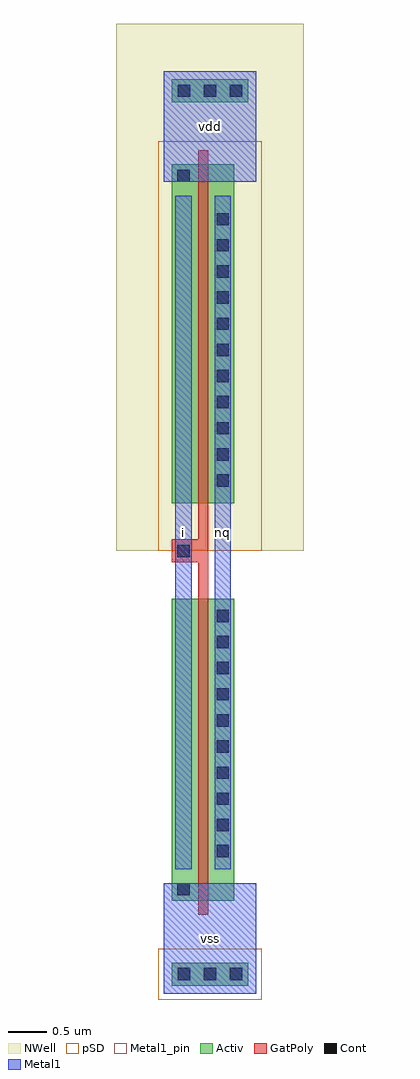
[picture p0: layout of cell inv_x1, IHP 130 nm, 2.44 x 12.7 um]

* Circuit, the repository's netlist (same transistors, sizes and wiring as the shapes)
* inv_x1
.subckt inv_x1 vdd vss i nq
Xnmos vss i nq vss sg13_lv_nmos l=0.13um w=3.93um
Xpmos vdd i nq vdd sg13_lv_pmos l=0.13um w=4.41um
.ends inv_x1

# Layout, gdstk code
import gdstk
lib = gdstk.Library(unit=1e-6, precision=1e-09)
def R(c, l, rs):  # rectangles x0, y0, x1, y1
    for r in rs: c.add(gdstk.rectangle(r[:2], r[2:], *l))
def A(c, l, x, y, w, h, nx, ny, dx, dy):  # array of equal rectangles
    R(c, l, [(x+i*dx, y+j*dy, x+i*dx+w, y+j*dy+h) for i in range(nx) for j in range(ny)])
Activ = (1, 0)
GatPoly = (5, 0)
Cont = (6, 0)
Metal1 = (8, 0)
Metal1_pin = (8, 2)
pSD = (14, 0)
NWell = (31, 0)

inv_x1 = lib.new_cell('inv_x1')
R(inv_x1, Activ, [(0.105,0.105,1.095,0.405), (0.11,0.105,1.09,0.405), (0.105,1.21,0.405,1.51), (0.105,1.21,0.375,5.14), (0.105,1.21,0.405,5.14), (0.215,1.21,0.805,5.14), (0.615,1.21,0.915,5.14), (0.645,1.21,0.915,5.14), (0.615,1.705,0.915,5.065), (0.105,6.38,0.405,10.79), (0.105,6.38,0.375,10.79), (0.215,6.38,0.805,10.79), (0.615,6.38,0.915,10.79), (0.645,6.38,0.915,10.79), (0.615,6.525,0.915,10.225), (0.105,10.49,0.405,10.79), (0.105,11.595,1.095,11.895), (0.11,11.595,1.09,11.895)])
R(inv_x1, GatPoly, [(0.445,1.03,0.575,5.32), (0.445,1.03,0.575,6.2), (0.105,5.61,0.405,5.91), (0.255,5.61,0.51,5.91), (0.445,6.2,0.575,10.97)])
A(inv_x1, Cont, 0.18, 0.175, 0.16, 0.16, 3, 2, 0.34, 11.49)
A(inv_x1, Cont, 0.685, 1.775, 0.16, 0.16, 1, 10, 0, 0.34)
A(inv_x1, Cont, 0.685, 6.595, 0.16, 0.16, 1, 11, 0, 0.34)
R(inv_x1, Cont, [(0.175,1.28,0.335,1.44), (0.175,5.68,0.335,5.84), (0.175,10.56,0.335,10.72)])
R(inv_x1, Metal1, [(0,0,1.2,1.44), (0.18,0.095,1.02,0.415), (0.095,1.28,0.415,1.44), (0.15,1.62,0.36,10.38), (0.66,1.62,0.87,10.38), (0.685,1.62,0.845,5.075), (0.685,1.695,0.845,5.075), (0.175,5.6,0.335,5.92), (0.685,6.515,0.845,10.38), (0.685,6.515,0.845,10.235), (0,10.56,1.2,12), (0.095,10.56,0.415,10.72), (0.18,11.585,1.02,11.905)])
R(inv_x1, Metal1_pin, [(0,0,1.2,1.44), (0.15,1.62,0.36,10.38), (0.66,1.62,0.87,10.38), (0,10.56,1.2,12)])
R(inv_x1, pSD, [(-0.075,-0.075,1.275,0.585), (-0.07,-0.075,1.27,0.585), (-0.075,5.76,1.275,11.09), (-0.075,6.08,0.585,11.09), (-0.075,6.08,0.555,11.09), (0.145,6.08,0.875,11.09), (0.435,6.08,1.095,11.09), (0.465,6.08,1.095,11.09), (0.035,6.2,0.985,10.97), (0.435,6.225,1.095,10.525), (-0.075,10.19,0.585,11.09)])
R(inv_x1, NWell, [(-0.62,5.76,1.82,12.62), (-0.515,5.76,1.025,11.41), (-0.405,5.76,1.425,11.41), (-0.005,5.76,1.535,11.41), (-0.005,5.905,1.535,10.845), (-0.515,9.87,1.025,11.41), (-0.515,10.975,1.715,12.515), (-0.51,10.975,1.71,12.515)])
inv_x1.add(gdstk.Label('vss', (0.6,0.72), layer=8, texttype=25))
inv_x1.add(gdstk.Label('vdd', (0.6,11.28), layer=8, texttype=25))
inv_x1.add(gdstk.Label('nq', (0.765,6), layer=8, texttype=25))
inv_x1.add(gdstk.Label('i', (0.255,6), layer=8, texttype=25))

lib.write_gds('inv_x1.gds')
